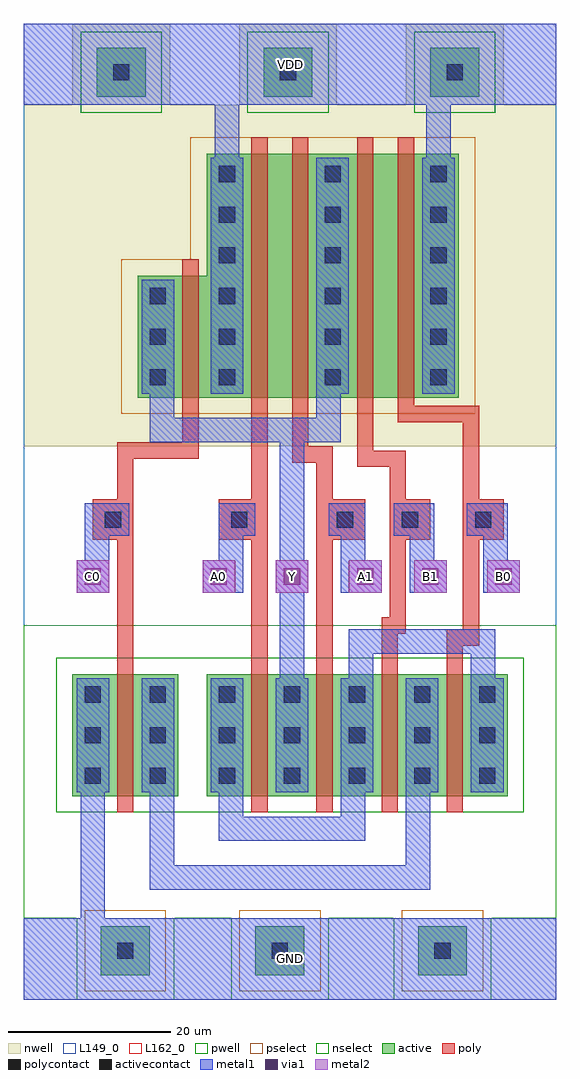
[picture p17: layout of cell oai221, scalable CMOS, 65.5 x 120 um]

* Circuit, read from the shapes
.subckt oai221 A0 A1 B0 B1 C0 GND VDD Y
M1 n1 C0 GND GND nfet w=15u l=2u
M2 Y A0 n2 GND nfet w=15u l=2u
M3 n2 A1 Y GND nfet w=15u l=2u
M4 n1 B1 n2 GND nfet w=15u l=2u
M5 n2 B0 n1 GND nfet w=15u l=2u
M6 VDD C0 Y VDD pfet w=15u l=2u
M7 n3 A0 VDD VDD pfet w=30u l=2u
M8 Y A1 n3 VDD pfet w=30u l=2u
M9 n4 B1 Y VDD pfet w=30u l=2u
M10 VDD B0 n4 VDD pfet w=30u l=2u
.ends

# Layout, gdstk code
import gdstk
lib = gdstk.Library(unit=1e-6, precision=1e-09)
def R(c, l, rs):  # rectangles x0, y0, x1, y1
    for r in rs: c.add(gdstk.rectangle(r[:2], r[2:], *l))
def A(c, l, x, y, w, h, nx, ny, dx, dy):  # array of equal rectangles
    R(c, l, [(x+i*dx, y+j*dy, x+i*dx+w, y+j*dy+h) for i in range(nx) for j in range(ny)])
def P(c, l, *ps):  # polygons
    for p in ps: c.add(gdstk.Polygon(p, *l))
pwell = (41, 0)
nwell = (42, 0)
active = (43, 0)
pselect = (44, 0)
nselect = (45, 0)
poly = (46, 0)
polycontact = (47, 0)
activecontact = (48, 0)
metal1 = (49, 0)
via1 = (50, 0)
metal2 = (51, 0)
L149_0 = (149, 0)
L162_0 = (162, 0)

pwell_contact = lib.new_cell('pwell_contact')
R(pwell_contact, pwell, [(-6,-6,6,5)])
R(pwell_contact, active, [(-3,-3,3,3)])
R(pwell_contact, pselect, [(-5,-5,5,5)])
R(pwell_contact, activecontact, [(-1,-1,1,1)])

nwell_contact = lib.new_cell('nwell_contact')
R(nwell_contact, nwell, [(-6,-5,6,6)])
R(nwell_contact, active, [(-3,-3,3,3)])
R(nwell_contact, nselect, [(-5,-5,5,5)])
R(nwell_contact, activecontact, [(-1,-1,1,1)])

via = lib.new_cell('via')
R(via, metal1, [(-2,-2,2,2)])
R(via, via1, [(-1,-1,1,1)])
R(via, metal2, [(-2,-2,2,2)])

oai221 = lib.new_cell('oai221')
R(oai221, pwell, [(0,10,65.5,20), (0,10,65.5,46), (0,19,25,46), (16.5,19,65.5,46)])
R(oai221, nwell, [(0,68,65.5,110), (0,95,65.5,110)])
P(oai221, nwell, [(59.5,68),(8,68),(8,95),(16.5,95),(16.5,110),(59.5,110)])
R(oai221, active, [(6,25,19,40), (22.5,25,59.5,40)])
P(oai221, active, [(53.5,74),(14,74),(14,89),(22.5,89),(22.5,104),(53.5,104)])
P(oai221, pselect, [(55.5,72),(12,72),(12,91),(20.5,91),(20.5,106),(55.5,106)])
R(oai221, nselect, [(4,23,21,42), (20.5,23,61.5,42)])
A(oai221, poly, 28, 23, 2, 2, 4, 2, 8, 17)
A(oai221, poly, 28, 25, 2, 15, 4, 1, 8, 0)
R(oai221, poly, [(11.5,23,13.5,25), (11.5,25,13.5,40), (11.5,40,13.5,42), (8.5,56.5,13.5,61.5), (24,56.5,29,61.5), (37,56.5,42,61.5), (45,56.5,50,61.5), (54,56.5,59,61.5), (19.5,72,21.5,74), (28,72,30,74), (33,72,35,74), (41,72,43,74), (46,72,48,74), (19.5,74,21.5,89), (28,74,30,104), (33,74,35,104), (41,74,43,104), (46,74,48,104), (19.5,89,21.5,91), (28,104,30,106), (33,104,35,106), (41,104,43,106), (46,104,48,106)])
R(oai221, polycontact, [(10,58,12,60), (25.5,58,27.5,60), (38.5,58,40.5,60), (46.5,58,48.5,60), (55.5,58,57.5,60)])
A(oai221, activecontact, 7.5, 26.5, 2, 2, 1, 3, 0, 5)
A(oai221, activecontact, 15.5, 26.5, 2, 2, 1, 3, 0, 5)
A(oai221, activecontact, 24, 26.5, 2, 2, 5, 3, 8, 5)
A(oai221, activecontact, 15.5, 75.5, 2, 2, 1, 3, 0, 5)
A(oai221, activecontact, 24, 75.5, 2, 2, 3, 6, 13, 5)
A(oai221, metal1, 23, 25.5, 4, 14, 5, 1, 8, 0)
A(oai221, metal1, 23, 74.5, 4, 29, 3, 1, 13, 0)
R(oai221, metal1, [(0,0,65.5,10), (0,0,65.5,10), (6.5,25.5,10.5,39.5), (14.5,25.5,18.5,39.5), (9,57,13,61), (24.5,57,28.5,61), (37.5,57,41.5,61), (45.5,57,49.5,61), (54.5,57,58.5,61), (14.5,74.5,18.5,88.5), (0,110,65.5,120), (0,110,65.5,120)])
A(oai221, metal2, 22, 50, 4, 4, 3, 1, 9, 0)
R(oai221, metal2, [(6.5,50,10.5,54), (48,50,52,54), (57,50,61,54)])
R(oai221, L149_0, [(0,0,65.5,10), (0,0,65.5,10), (0,0,65.5,120), (9,57,13,61), (24.5,57,28.5,61), (37.5,57,41.5,61), (45.5,57,49.5,61), (54.5,57,58.5,61), (0,110,65.5,120), (0,110,65.5,120)])
A(oai221, L162_0, 22, 50, 4, 4, 3, 1, 9, 0)
R(oai221, L162_0, [(6.5,50,10.5,54), (48,50,52,54), (57,50,61,54)])
oai221.add(gdstk.FlexPath([(9,61),(9,50)], 3, ends="flush", simple_path=True, layer=149, datatype=0))  # L149_0
oai221.add(gdstk.FlexPath([(25,103.5),(25,110)], 3, ends="flush", simple_path=True, layer=149, datatype=0))  # L149_0
oai221.add(gdstk.FlexPath([(41.5,39.5),(41.5,44),(56.5,44),(56.5,39.5)], 3, ends="flush", simple_path=True, layer=149, datatype=0))  # L149_0
oai221.add(gdstk.FlexPath([(17,74.5),(17,70),(33,70)], 3, ends="flush", simple_path=True, layer=149, datatype=0))  # L149_0
oai221.add(gdstk.FlexPath([(8.5,25.5),(8.5,10)], 3, ends="flush", simple_path=True, layer=149, datatype=0))  # L149_0
oai221.add(gdstk.FlexPath([(17,25.5),(17,15),(48.5,15),(48.5,25.5)], 3, ends="flush", simple_path=True, layer=149, datatype=0))  # L149_0
oai221.add(gdstk.FlexPath([(51,103.5),(51,110)], 3, ends="flush", simple_path=True, layer=149, datatype=0))  # L149_0
oai221.add(gdstk.FlexPath([(25.5,25.5),(25.5,21),(40.5,21),(40.5,25.5)], 3, ends="flush", simple_path=True, layer=149, datatype=0))  # L149_0
oai221.add(gdstk.FlexPath([(58,61),(58,50)], 3, ends="flush", simple_path=True, layer=149, datatype=0))  # L149_0
oai221.add(gdstk.FlexPath([(49,61),(49,50)], 3, ends="flush", simple_path=True, layer=149, datatype=0))  # L149_0
oai221.add(gdstk.FlexPath([(25.5,61),(25.5,50)], 3, ends="flush", simple_path=True, layer=149, datatype=0))  # L149_0
oai221.add(gdstk.FlexPath([(33,39.5),(33,70),(37.5,70),(37.5,74.5)], 3, ends="flush", simple_path=True, layer=149, datatype=0))  # L149_0
oai221.add(gdstk.FlexPath([(40.5,61),(40.5,50)], 3, ends="flush", simple_path=True, layer=149, datatype=0))  # L149_0
oai221.add(gdstk.FlexPath([(9,61),(9,50)], 3, ends="flush", simple_path=True, layer=49, datatype=0))  # metal1
oai221.add(gdstk.FlexPath([(25,103.5),(25,110)], 3, ends="flush", simple_path=True, layer=49, datatype=0))  # metal1
oai221.add(gdstk.FlexPath([(41.5,39.5),(41.5,44),(56.5,44),(56.5,39.5)], 3, ends="flush", simple_path=True, layer=49, datatype=0))  # metal1
oai221.add(gdstk.FlexPath([(17,74.5),(17,70),(33,70)], 3, ends="flush", simple_path=True, layer=49, datatype=0))  # metal1
oai221.add(gdstk.FlexPath([(8.5,25.5),(8.5,10)], 3, ends="flush", simple_path=True, layer=49, datatype=0))  # metal1
oai221.add(gdstk.FlexPath([(17,25.5),(17,15),(48.5,15),(48.5,25.5)], 3, ends="flush", simple_path=True, layer=49, datatype=0))  # metal1
oai221.add(gdstk.FlexPath([(51,103.5),(51,110)], 3, ends="flush", simple_path=True, layer=49, datatype=0))  # metal1
oai221.add(gdstk.FlexPath([(25.5,25.5),(25.5,21),(40.5,21),(40.5,25.5)], 3, ends="flush", simple_path=True, layer=49, datatype=0))  # metal1
oai221.add(gdstk.FlexPath([(58,61),(58,50)], 3, ends="flush", simple_path=True, layer=49, datatype=0))  # metal1
oai221.add(gdstk.FlexPath([(49,61),(49,50)], 3, ends="flush", simple_path=True, layer=49, datatype=0))  # metal1
oai221.add(gdstk.FlexPath([(25.5,61),(25.5,50)], 3, ends="flush", simple_path=True, layer=49, datatype=0))  # metal1
oai221.add(gdstk.FlexPath([(33,39.5),(33,70),(37.5,70),(37.5,74.5)], 3, ends="flush", simple_path=True, layer=49, datatype=0))  # metal1
oai221.add(gdstk.FlexPath([(40.5,61),(40.5,50)], 3, ends="flush", simple_path=True, layer=49, datatype=0))  # metal1
oai221.add(gdstk.FlexPath([(46,72),(55,72),(55,44.5),(53,44.5),(53,42)], 2, ends="flush", simple_path=True, layer=46, datatype=0))  # poly
oai221.add(gdstk.FlexPath([(34,72),(34,67),(37,67),(37,42)], 2, ends="flush", simple_path=True, layer=46, datatype=0))  # poly
oai221.add(gdstk.FlexPath([(42,72),(42,66.5),(46,66.5),(46,46),(45,46),(45,42)], 2, ends="flush", simple_path=True, layer=46, datatype=0))  # poly
oai221.add(gdstk.FlexPath([(29,72),(29,42)], 2, ends="flush", simple_path=True, layer=46, datatype=0))  # poly
oai221.add(gdstk.FlexPath([(20.5,72),(20.5,67.5),(12.5,67.5),(12.5,42)], 2, ends="flush", simple_path=True, layer=46, datatype=0))  # poly
oai221.add(gdstk.Reference(pwell_contact, (31.5,6)))
oai221.add(gdstk.Reference(pwell_contact, (51.5,6)))
oai221.add(gdstk.Reference(pwell_contact, (12.5,6)))
oai221.add(gdstk.Reference(nwell_contact, (32.5,114)))
oai221.add(gdstk.Reference(nwell_contact, (12,114)))
oai221.add(gdstk.Reference(nwell_contact, (53,114)))
oai221.add(gdstk.Reference(via, (33,52)))
oai221.add(gdstk.Reference(via, (8.5,52)))
oai221.add(gdstk.Reference(via, (24,52)))
oai221.add(gdstk.Reference(via, (59,52)))
oai221.add(gdstk.Reference(via, (50,52)))
oai221.add(gdstk.Reference(via, (42,52)))
oai221.add(gdstk.Label('B1', (50,52), layer=3, texttype=0))
oai221.add(gdstk.Label('C0', (8.5,52), layer=3, texttype=0))
oai221.add(gdstk.Label('Y', (33,52), layer=3, texttype=0))
oai221.add(gdstk.Label('A1', (42,52), layer=3, texttype=0))
oai221.add(gdstk.Label('A0', (24,52), layer=3, texttype=0))
oai221.add(gdstk.Label('B0', (59,52), layer=3, texttype=0))
oai221.add(gdstk.Label('GND', (32.75,5), layer=2, texttype=0))
oai221.add(gdstk.Label('VDD', (32.75,115), layer=2, texttype=0))

lib.write_gds('oai221.gds')
